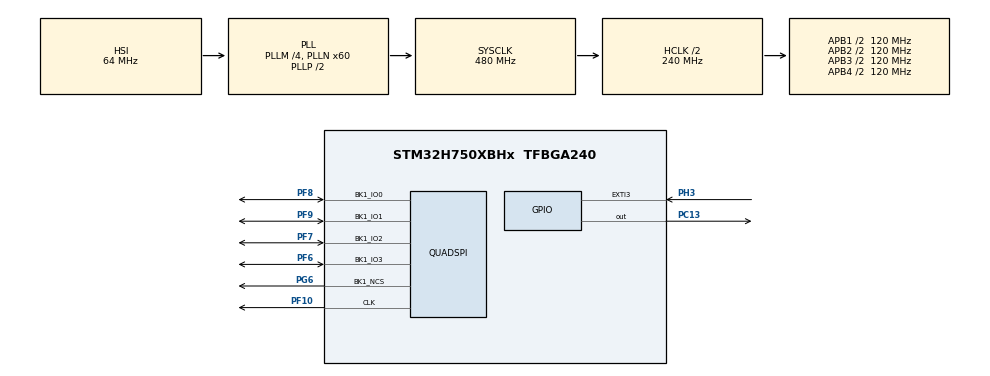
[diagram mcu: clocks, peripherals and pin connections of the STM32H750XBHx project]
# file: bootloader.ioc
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CORTEX_M7.AccessPermission_Spec=MPU_REGION_FULL_ACCESS
CORTEX_M7.BaseAddress_Spec=0xC0000000
CORTEX_M7.CPU_DCache=Disabled
CORTEX_M7.CPU_ICache=Disabled
CORTEX_M7.DisableExec_Spec=MPU_INSTRUCTION_ACCESS_ENABLE
CORTEX_M7.Enable-Cortex_Memory_Protection_Unit_Region0_Settings=__NULL
CORTEX_M7.Enable_Spec=MPU_REGION_ENABLE
CORTEX_M7.IsBufferable_Spec=MPU_ACCESS_BUFFERABLE
CORTEX_M7.IsCacheable_Spec=MPU_ACCESS_CACHEABLE
CORTEX_M7.IsShareable_Spec=MPU_ACCESS_NOT_SHAREABLE
CORTEX_M7.MPU_Control=__NULL
CORTEX_M7.Size_Spec=MPU_REGION_SIZE_16MB
CORTEX_M7.SubRegionDisable_Spec=0x0
CORTEX_M7.default_mode_Activation=0
Mcu.Family=STM32H7
Mcu.Name=STM32H750XBHx
Mcu.Package=TFBGA240
NVIC.PriorityGroup=NVIC_PRIORITYGROUP_4
PC13.Signal=GPIO_Output
PC14-OSC32_IN\ (OSC32_IN).Mode=LSE-External-Oscillator
PC14-OSC32_IN\ (OSC32_IN).Signal=RCC_OSC32_IN
PC15-OSC32_OUT\ (OSC32_OUT).Mode=LSE-External-Oscillator
PC15-OSC32_OUT\ (OSC32_OUT).Signal=RCC_OSC32_OUT
PF10.GPIO_Speed=GPIO_SPEED_FREQ_VERY_HIGH
PF10.Mode=Single Bank 1
PF10.Signal=QUADSPI_CLK
PF6.GPIO_Speed=GPIO_SPEED_FREQ_VERY_HIGH
PF6.Mode=Single Bank 1
PF6.Signal=QUADSPI_BK1_IO3
PF7.GPIO_Speed=GPIO_SPEED_FREQ_VERY_HIGH
PF7.Mode=Single Bank 1
PF7.Signal=QUADSPI_BK1_IO2
PF8.GPIO_Speed=GPIO_SPEED_FREQ_VERY_HIGH
PF8.Mode=Single Bank 1
PF8.Signal=QUADSPI_BK1_IO0
PF9.GPIO_Speed=GPIO_SPEED_FREQ_VERY_HIGH
PF9.Mode=Single Bank 1
PF9.Signal=QUADSPI_BK1_IO1
PG6.GPIO_Speed=GPIO_SPEED_FREQ_VERY_HIGH
PG6.Mode=Single Bank 1
PG6.Signal=QUADSPI_BK1_NCS
PH0-OSC_IN\ (PH0).Mode=HSE-External-Oscillator
PH0-OSC_IN\ (PH0).Signal=RCC_OSC_IN
PH1-OSC_OUT\ (PH1).Mode=HSE-External-Oscillator
PH1-OSC_OUT\ (PH1).Signal=RCC_OSC_OUT
PH3.Signal=GPXTI3
ProjectManager.HeapSize=0x200
ProjectManager.StackSize=0x400
ProjectManager.TargetToolchain=CMake
QUADSPI.ClockMode=QSPI_CLOCK_MODE_3
QUADSPI.ClockPrescaler=1
QUADSPI.FifoThreshold=32
QUADSPI.FlashSize=24
QUADSPI.SampleShifting=QSPI_SAMPLE_SHIFTING_HALFCYCLE
RCC.ADCFreq_Value=129000000
RCC.APB1Freq_Value=120000000
RCC.APB2Freq_Value=120000000
RCC.APB3Freq_Value=120000000
RCC.APB4Freq_Value=120000000
RCC.CortexFreq_Value=480000000
RCC.D1PPRE=RCC_APB3_DIV2
RCC.D2PPRE1=RCC_APB1_DIV2
RCC.D2PPRE2=RCC_APB2_DIV2
RCC.D3PPRE=RCC_APB4_DIV2
RCC.DIVM1=4
RCC.DIVM3=1
RCC.DIVN1=60
RCC.DIVN3=4
RCC.DIVQ1=5
RCC.DIVR3=5
RCC.HCLKFreq_Value=240000000
RCC.HPRE=RCC_HCLK_DIV2
RCC.PLL2FRACN=0
RCC.PLL3FRACN=0
RCC.PLLFRACN=0
RCC.SYSCLKFreq_VALUE=480000000
RCC.SYSCLKSource=RCC_SYSCLKSOURCE_PLLCLK
RCC.USBFreq_Value=192000000
VP_MEMORYMAP_VS_MEMORYMAP.Mode=CurAppReg
board=custom

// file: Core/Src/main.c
/* USER CODE BEGIN Header */
/**
 ******************************************************************************
 * @file           : main.c
 * @brief          : Bootloader main program body
 * @description    : Initialize QSPI Flash and jump to application at 0x90000000
 ******************************************************************************
 * @attention
 *
 * Copyright (c) 2025 STMicroelectronics.
 * All rights reserved.
 *
 * This software is licensed under terms that can be found in the LICENSE file
 * in the root directory of this software component.
 * If no LICENSE file comes with this software, it is provided AS-IS.
 *
 ******************************************************************************
 */
/* USER CODE END Header */
#include "main.h"

/* USER CODE BEGIN Includes */
#include "qspi_flash.h"
/* USER CODE END Includes */

/* USER CODE BEGIN PTD */
/**
 * @brief Function pointer type for jumping to application
 */
typedef void (*pFunction)(void);

/* USER CODE END PTD */

/* USER CODE BEGIN PD */

/* Bootloader and Application configuration */
#define APP_START_ADDR 0x90000000                   /*!< Application start address (3MB offset) */
#define APP_STACK_POINTER_ADDR (APP_START_ADDR + 0) /*!< Stack pointer offset */
#define APP_ENTRY_POINT_ADDR (APP_START_ADDR + 4)   /*!< Entry point offset */

/* USER CODE END PD */

QSPI_HandleTypeDef hqspi;

void SystemClock_Config(void);
static void MX_GPIO_Init(void);
static void MX_QUADSPI_Init(void);
/* USER CODE BEGIN PFP */
static int8_t QSPI_Flash_Init(void);
__attribute__((noreturn)) static void jump_to_app(uint32_t app_base);
/* USER CODE END PFP */

/* USER CODE BEGIN 0 */

/**
 * @brief  LED indicator for successful jump (fast blink)
 * @note   This function never returns
 */
static void LED_Success_Blink(void)
{

  /* Keep LED on to show ready state */
  HAL_GPIO_WritePin(GPIOC, GPIO_PIN_13, GPIO_PIN_RESET);
}

/**
 * @brief  LED indicator for failure (slow blink)
 * @note   This function never returns
 */
__attribute__((noreturn)) static void LED_Failure_Blink(void)
{
  /* Slow blinks to indicate initialization failure */
  while (1)
  {
    HAL_GPIO_WritePin(GPIOC, GPIO_PIN_13, GPIO_PIN_SET);
    HAL_Delay(300);
    HAL_GPIO_WritePin(GPIOC, GPIO_PIN_13, GPIO_PIN_RESET);
    HAL_Delay(300);
  }
}

/**
 * @brief  Initialize QSPI Flash and enter memory mapped mode
 * @retval 0 if successful, -1 if failed
 */
static int8_t QSPI_Flash_Init(void)
{
  int8_t status;

  /* Initialize QSPI Flash driver */
  status = QSPI_W25Qxx_Init();
  if (status != QSPI_W25Qxx_OK)
  {
    return -1;
  }

  /* Enter memory mapped mode to access flash at 0x90000000 */
  status = QSPI_W25Qxx_MemoryMappedMode();
  if (status != QSPI_W25Qxx_OK)
  {
    return -1;
  }

  return 0;
}
/**
 * @brief  Jump to application stored in QSPI Flash
 * @param  app_base: Base address of the application (0x90000000)
 * @note   This function never returns - it disables interrupts and jumps to app
 *         The application must have a valid vector table at the specified address
 */
__attribute__((noreturn)) static void jump_to_app(uint32_t app_base)
{
  __disable_irq();

  /* Disable SysTick and clear all NVIC interrupt enable/pending flags */
  SysTick->CTRL = 0;
  SysTick->VAL = 0;
  SysTick->LOAD = 0;

  /* Clear all interrupt enable and pending bits */
  for (uint32_t i = 0; i < 8; i++)
  {
    NVIC->ICER[i] = 0xFFFFFFFF;
    NVIC->ICPR[i] = 0xFFFFFFFF;
  }

  /* 禁用 MPU,避免配置冲突 */
  HAL_MPU_Disable();

  /* Set vector table offset to application base address */
  SCB->VTOR = app_base;
  __DSB();
  __ISB();

  /* 启用中断 */
  __enable_irq();

  /* Read PC (Program Counter / Reset Handler) from application vector table */
  uint32_t pc = *(__IO uint32_t *)(app_base + 4);

  /* Jump to application reset handler */
  ((pFunction)pc)();

  /* This code should never be reached */
  for (;;)
    ;
}
/* USER CODE END 0 */

int main(void)
{

  /* MCU Configuration--------------------------------------------------------*/

  /* Reset of all peripherals, Initializes the Flash interface and the Systick. */
  HAL_Init();

  /* Configure the system clock */
  SystemClock_Config();

  /* Initialize all configured peripherals */
  MX_GPIO_Init();
  MX_QUADSPI_Init();
  /* USER CODE BEGIN 2 */
  /* Initialize QSPI Flash and enter memory mapped mode */
  if (QSPI_Flash_Init() == 0)
  {
    /* QSPI initialization successful - show fast blinks before jumping */
    LED_Success_Blink();
    /* QSPI initialization successful, jump to application */
    jump_to_app(APP_START_ADDR);
  }
  else
  {
    /* QSPI initialization failed, enter error loop */
    LED_Failure_Blink();
  }

  /* USER CODE END 2 */

  /* Infinite loop */
  while (1)
  {

  }
}

void SystemClock_Config(void)
{
  RCC_OscInitTypeDef RCC_OscInitStruct = {0};
  RCC_ClkInitTypeDef RCC_ClkInitStruct = {0};

  /** Supply configuration update enable
  */
  HAL_PWREx_ConfigSupply(PWR_LDO_SUPPLY);

  /** Configure the main internal regulator output voltage
  */
  __HAL_PWR_VOLTAGESCALING_CONFIG(PWR_REGULATOR_VOLTAGE_SCALE0);

  while(!__HAL_PWR_GET_FLAG(PWR_FLAG_VOSRDY)) {}

  /** Initializes the RCC Oscillators according to the specified parameters
  * in the RCC_OscInitTypeDef structure.
  */
  RCC_OscInitStruct.OscillatorType = RCC_OSCILLATORTYPE_HSI;
  RCC_OscInitStruct.HSIState = RCC_HSI_DIV1;
  RCC_OscInitStruct.HSICalibrationValue = RCC_HSICALIBRATION_DEFAULT;
  RCC_OscInitStruct.PLL.PLLState = RCC_PLL_ON;
  RCC_OscInitStruct.PLL.PLLSource = RCC_PLLSOURCE_HSI;
  RCC_OscInitStruct.PLL.PLLM = 4;
  RCC_OscInitStruct.PLL.PLLN = 60;
  RCC_OscInitStruct.PLL.PLLP = 2;
  RCC_OscInitStruct.PLL.PLLQ = 5;
  RCC_OscInitStruct.PLL.PLLR = 2;
  RCC_OscInitStruct.PLL.PLLRGE = RCC_PLL1VCIRANGE_3;
  RCC_OscInitStruct.PLL.PLLVCOSEL = RCC_PLL1VCOWIDE;
  RCC_OscInitStruct.PLL.PLLFRACN = 0;
  if (HAL_RCC_OscConfig(&RCC_OscInitStruct) != HAL_OK)
  {
    Error_Handler();
  }

  /** Initializes the CPU, AHB and APB buses clocks
  */
  RCC_ClkInitStruct.ClockType = RCC_CLOCKTYPE_HCLK|RCC_CLOCKTYPE_SYSCLK
                              |RCC_CLOCKTYPE_PCLK1|RCC_CLOCKTYPE_PCLK2
                              |RCC_CLOCKTYPE_D3PCLK1|RCC_CLOCKTYPE_D1PCLK1;
  RCC_ClkInitStruct.SYSCLKSource = RCC_SYSCLKSOURCE_PLLCLK;
  RCC_ClkInitStruct.SYSCLKDivider = RCC_SYSCLK_DIV1;
  RCC_ClkInitStruct.AHBCLKDivider = RCC_HCLK_DIV2;
  RCC_ClkInitStruct.APB3CLKDivider = RCC_APB3_DIV2;
  RCC_ClkInitStruct.APB1CLKDivider = RCC_APB1_DIV2;
  RCC_ClkInitStruct.APB2CLKDivider = RCC_APB2_DIV2;
  RCC_ClkInitStruct.APB4CLKDivider = RCC_APB4_DIV2;

  if (HAL_RCC_ClockConfig(&RCC_ClkInitStruct, FLASH_LATENCY_4) != HAL_OK)
  {
    Error_Handler();
  }
}

static void MX_QUADSPI_Init(void)
{

  /* QUADSPI parameter configuration*/
  hqspi.Instance = QUADSPI;
  hqspi.Init.ClockPrescaler = 1;
  hqspi.Init.FifoThreshold = 32;
  hqspi.Init.SampleShifting = QSPI_SAMPLE_SHIFTING_HALFCYCLE;
  hqspi.Init.FlashSize = 24;
  hqspi.Init.ChipSelectHighTime = QSPI_CS_HIGH_TIME_1_CYCLE;
  hqspi.Init.ClockMode = QSPI_CLOCK_MODE_3;
  hqspi.Init.FlashID = QSPI_FLASH_ID_1;
  hqspi.Init.DualFlash = QSPI_DUALFLASH_DISABLE;
  if (HAL_QSPI_Init(&hqspi) != HAL_OK)
  {
    Error_Handler();
  }

}

static void MX_GPIO_Init(void)
{
  GPIO_InitTypeDef GPIO_InitStruct = {0};

  /* GPIO Ports Clock Enable */
  __HAL_RCC_GPIOC_CLK_ENABLE();
  __HAL_RCC_GPIOG_CLK_ENABLE();
  __HAL_RCC_GPIOH_CLK_ENABLE();
  __HAL_RCC_GPIOF_CLK_ENABLE();

  /*Configure GPIO pin Output Level */
  HAL_GPIO_WritePin(GPIOC, GPIO_PIN_13, GPIO_PIN_RESET);

  /*Configure GPIO pin : PC13 */
  GPIO_InitStruct.Pin = GPIO_PIN_13;
  GPIO_InitStruct.Mode = GPIO_MODE_OUTPUT_PP;
  GPIO_InitStruct.Pull = GPIO_NOPULL;
  GPIO_InitStruct.Speed = GPIO_SPEED_FREQ_LOW;
  HAL_GPIO_Init(GPIOC, &GPIO_InitStruct);

  /*Configure GPIO pin : PH3 */
  GPIO_InitStruct.Pin = GPIO_PIN_3;
  GPIO_InitStruct.Mode = GPIO_MODE_IT_RISING;
  GPIO_InitStruct.Pull = GPIO_NOPULL;
  HAL_GPIO_Init(GPIOH, &GPIO_InitStruct);

}

void Error_Handler(void)
{
  /* USER CODE BEGIN Error_Handler_Debug */
  /* User can add his own implementation to report the HAL error return state */
  __disable_irq();
	LED_Failure_Blink();
  while (1)
  {
  }
  /* USER CODE END Error_Handler_Debug */
}
